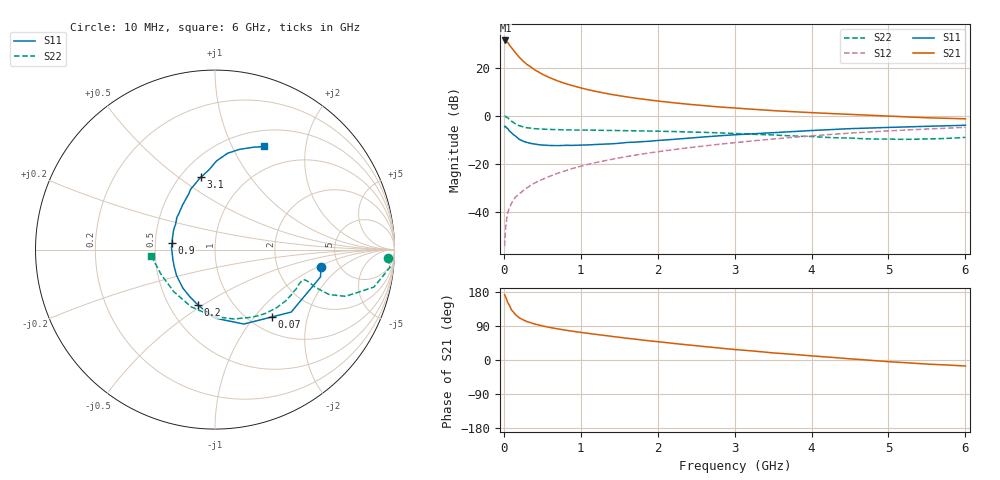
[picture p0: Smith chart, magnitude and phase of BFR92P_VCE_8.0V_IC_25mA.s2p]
! Infineon Technologies  Discrete & RF Semiconductors
! BFR92P
! VCE =  8.0 V,  IC =  25 mA
! Common Emitter S-Parameters:  Apr 2014
# GHz  S  MA  R  50
!  f  S11  S21  S12  S22
! GHz  MAG  ANG  MAG  ANG  MAG  ANG  MAG  ANG
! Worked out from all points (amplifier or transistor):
!   77 points, 10 MHz to 6 GHz, reference 50 ohm
!   highest |S21| = 31.5 dB at 20 MHz (marker M1)
!   |S21| within 3 dB of that: start of sweep to 98.85 MHz
!   unconditionally stable (mu >= 1): 465.6 MHz to 2.122 GHz
!   at 130 MHz: K = 0.58, MSG = 31.1 dB, |S12| = -34.9 dB
!   at 2.2 GHz: K = 0.99, MSG = 9.8 dB, |S12| = -14.1 dB
!   at 6 GHz: K = 0.85, MSG = 1.8 dB, |S12| = -4.8 dB
!   S11 on the Smith chart (normalised r, x): 10 MHz: 3.61, -1.10; 70 MHz: 1.25, -1.24; 200 MHz: 0.69, -0.48; 900 MHz: 0.61, +0.05; 3.1 GHz: 0.63, +0.61; 6 GHz: 0.69, +1.34
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0.01  0.5979 -9.4  37.63 172.1  0.0019 91.0  0.9674 -2.8
0.02  0.6073 -14.5  37.66 167.9  0.0039 85.4  0.9799 -5.8
0.05  0.5491 -39.3  34.31 151.8  0.0095 73.5  0.9091 -13.3
0.07  0.492 -49.6  30.77 145.0  0.0117 71.2  0.8535 -15.6
0.1  0.4447 -68.9  26.52 131.7  0.015 69.0  0.7731 -19.7
0.15  0.3811 -90.3  21.01 119.9  0.0199 66.3  0.6842 -21.5
0.2  0.324 -106.8  16.8 111.4  0.0235 67.2  0.6247 -20.9
0.25  0.2966 -118.6  13.97 106.1  0.0272 68.0  0.5923 -20.5
0.3  0.2794 -129.9  11.91 101.3  0.0314 69.1  0.5669 -19.5
0.4  0.2586 -145.9  9.178 94.9  0.0394 70.2  0.5416 -18.8
0.5  0.2462 -157.5  7.429 90.0  0.0471 72.1  0.5291 -18.6
0.6  0.2411 -166.9  6.241 85.8  0.055 73.1  0.5207 -18.9
0.7  0.2393 -174.9  5.385 82.2  0.0634 73.6  0.5157 -19.5
0.8  0.2427 177.5  4.739 78.8  0.0715 73.3  0.511 -20.6
0.9  0.2423 171.0  4.249 75.7  0.0804 73.8  0.5073 -21.8
1.1  0.2481 161.2  3.511 70.2  0.0978 73.4  0.5044 -24.4
1.5  0.2681 143.7  2.642 59.9  0.1328 71.1  0.4944 -30.7
2.1  0.3143 123.4  1.966 46.2  0.1878 66.8  0.4749 -41.4
3.1  0.4111 100.9  1.425 26.1  0.2861 57.0  0.4224 -63.6
4.1  0.5037 87.5  1.15 9.4  0.3937 45.5  0.3626 -95.8
5.1  0.5805 75.0  0.976 -5.6  0.4956 31.4  0.3252 -138.4
6  0.6374 64.4  0.87 -15.7  0.5771 18.4  0.356 -174.1
